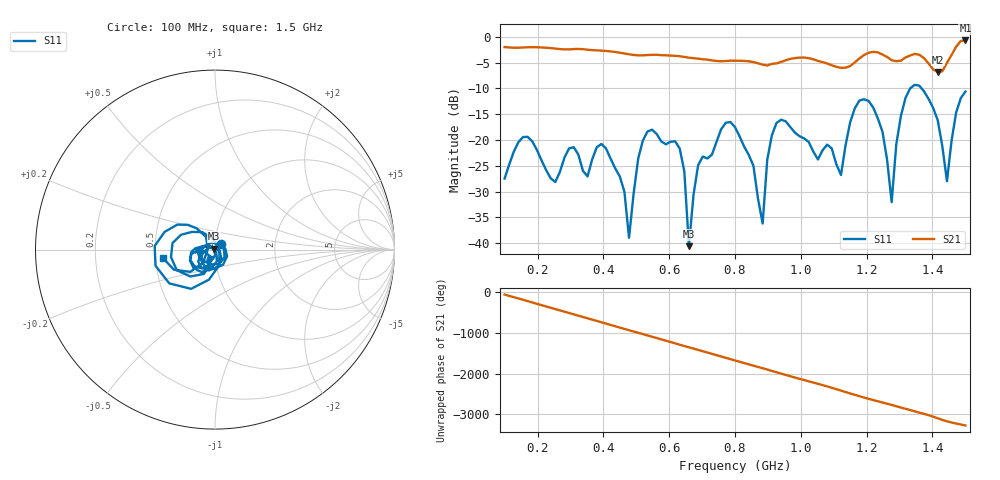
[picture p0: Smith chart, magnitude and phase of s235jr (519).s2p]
! NanoVNA-App
! Date: 2025-09-25 15:08:12
! Start: 100MHz Stop: 1,5GHz Points: 101
! S-Parameter data: F S11 S21 S12 S22
# Hz S RI R 50
!  Frequency  S11_Real  S11_Imag  S21_Real  S21_Imag  S12_Real  S12_Imag  S22_Real  S22_Imag
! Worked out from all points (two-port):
!   101 points, 100 MHz to 1.5 GHz, reference 50 ohm
!   highest |S21| = -0.68 dB at 1.5 GHz (marker M1); lowest = -6.8 dB at 1.416 GHz (marker M2)
!   |S21| within 3 dB of the highest: start of sweep to 621.4 MHz; 1.188 GHz to 1.256 GHz (67.75 MHz wide, 5.54 % of centre) (the widest 2 of 4)
!   lowest |S11| = -40.6 dB at 660 MHz (marker M3), VSWR 1.02, Z = 49.3 + j0.577 ohm
!   |S11| at or under -10 dB: start of sweep to 1.332 GHz; 1.367 GHz to end of sweep
!   S12 and S22 are empty: the file has one direction only
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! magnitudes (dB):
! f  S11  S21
! 100 MHz  -27.5  -2.0
! 156 MHz  -19.4  -2.0
! 338 MHz  -26.0  -2.4
! 408 MHz  -21.6  -2.7
! 478 MHz  -39.0  -3.4
! 520 MHz  -20.1  -3.6
! 576 MHz  -20.3  -3.5
! 632 MHz  -21.6  -3.7
! 660 MHz  -40.6  -4.0
! 688 MHz  -24.9  -4.2
! 800 MHz  -17.5  -4.6
! 884 MHz  -36.2  -5.4
! 898 MHz  -23.8  -5.5
! 926 MHz  -16.7  -5.1
! 1.038 GHz  -22.2  -4.3
! 1.122 GHz  -26.8  -6.0
! 1.206 GHz  -12.4  -3.1
! 1.276 GHz  -32.0  -4.5
! 1.332 GHz  -10.0  -3.6
! 1.416 GHz  -16.2  -6.8
! 1.444 GHz  -28.0  -5.0
! 1.5 GHz  -10.6  -0.7
